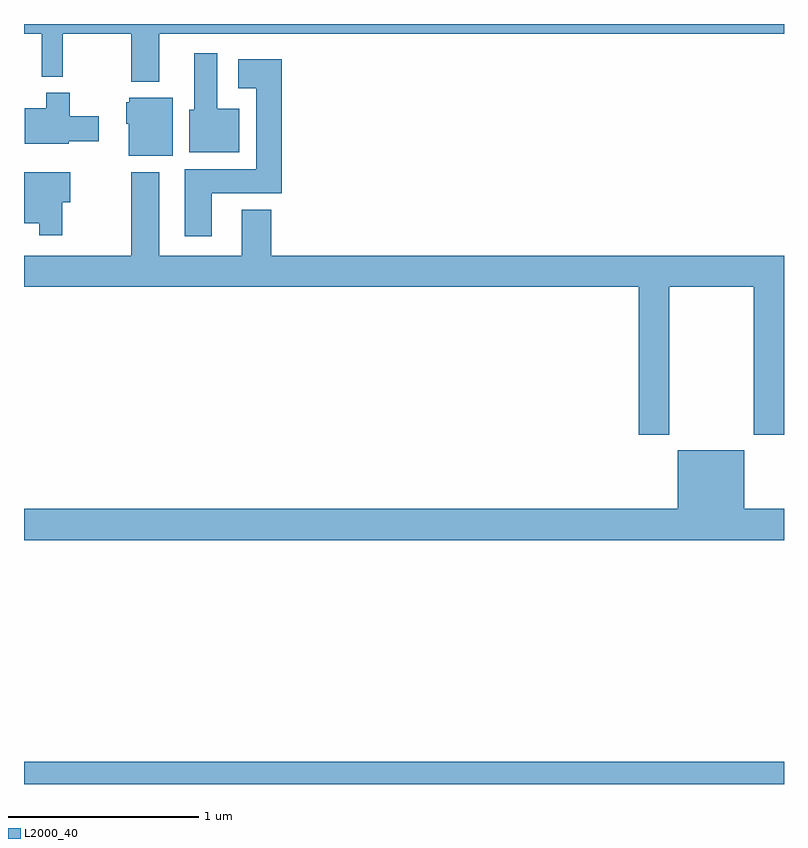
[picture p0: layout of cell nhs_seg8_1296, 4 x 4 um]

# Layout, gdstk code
import gdstk
lib = gdstk.Library(unit=1e-6, precision=1e-09)
def R(c, l, rs):  # rectangles x0, y0, x1, y1
    for r in rs: c.add(gdstk.rectangle(r[:2], r[2:], *l))
def P(c, l, *ps):  # polygons
    for p in ps: c.add(gdstk.Polygon(p, *l))
L2000_40 = (2000, 40)

nhs_seg8_1296 = lib.new_cell('nhs_seg8_1296')
R(nhs_seg8_1296, L2000_40, [(193,1097.9,197,1098.016)])
P(nhs_seg8_1296, L2000_40, [(193.711,1101.848),(197,1101.848),(197,1101.9),(193,1101.9),(193,1101.848),(193.094,1101.848),(193.094,1101.623),(193.204,1101.623),(193.204,1101.848),(193.564,1101.848),(193.564,1101.596),(193.711,1101.596)],
  [(194.134,1101.454),(194.017,1101.454),(194.017,1101.745),(193.895,1101.745),(193.895,1101.45),(193.871,1101.45),(193.871,1101.224),(194.134,1101.224)],
  [(193.987,1101.008),(194.357,1101.008),(194.357,1101.715),(194.127,1101.715),(194.127,1101.563),(194.222,1101.563),(194.222,1101.136),(193.847,1101.136),(193.847,1100.784),(193.987,1100.784)],
  [(193.236,1101.284),(193.393,1101.284),(193.393,1101.414),(193.24,1101.414),(193.24,1101.538),(193.118,1101.538),(193.118,1101.457),(193.004,1101.457),(193.004,1101.269),(193.236,1101.269)],
  [(193.783,1101.511),(193.554,1101.511),(193.554,1101.489),(193.538,1101.489),(193.538,1101.375),(193.55,1101.375),(193.55,1101.206),(193.783,1101.206)],
  [(196.395,1100.516),(196.84,1100.516),(196.84,1099.737),(197,1099.737),(197,1100.68),(194.3,1100.68),(194.3,1100.923),(194.147,1100.923),(194.147,1100.68),(193.711,1100.68),(193.711,1101.121),(193.564,1101.121),(193.564,1100.68),(193,1100.68),(193,1100.516),(196.235,1100.516),(196.235,1099.737),(196.395,1099.737)],
  [(193.201,1100.963),(193.243,1100.963),(193.243,1101.121),(193,1101.121),(193,1100.852),(193.08,1100.852),(193.08,1100.787),(193.201,1100.787)],
  [(197,1099.348),(196.792,1099.348),(196.792,1099.657),(196.442,1099.657),(196.442,1099.348),(193,1099.348),(193,1099.184),(197,1099.184)])

lib.write_gds('nhs_seg8_1296.gds')
